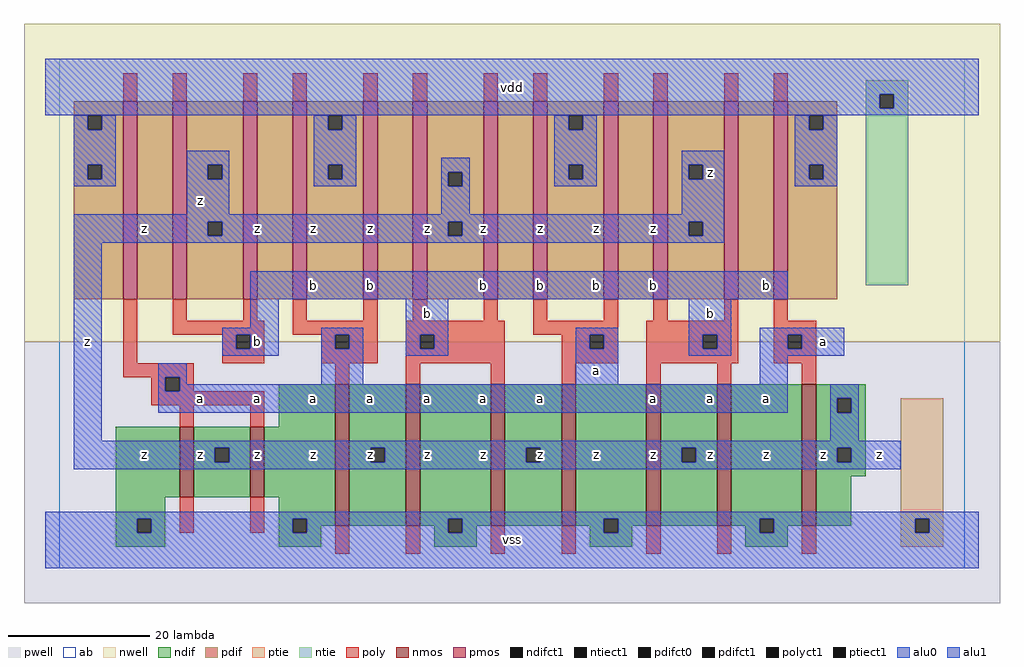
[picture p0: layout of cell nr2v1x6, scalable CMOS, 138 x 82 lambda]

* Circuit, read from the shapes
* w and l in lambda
.subckt nr2v1x6 a b vdd vss z
M1 z a vss vss nfet w=10 l=2 m=2
M2 z a vss vss nfet w=20 l=2 m=3
M3 vss b z vss nfet w=20 l=2 m=4
M4 n1 a vdd vdd pfet w=28 l=2
M5 z b n1 vdd pfet w=28 l=2
M6 n2 b z vdd pfet w=28 l=2
M7 vdd a n2 vdd pfet w=28 l=2
M8 n3 a vdd vdd pfet w=28 l=2
M9 z b n3 vdd pfet w=28 l=2
M10 n4 b z vdd pfet w=28 l=2
M11 vdd a n4 vdd pfet w=28 l=2
M12 n5 a vdd vdd pfet w=28 l=2
M13 z b n5 vdd pfet w=28 l=2
M14 n6 b z vdd pfet w=28 l=2
M15 vdd a n6 vdd pfet w=28 l=2
.ends

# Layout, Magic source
magic
tech scmos
<< ab >>
rect 0 0 128 72
<< nwell >>
rect -5 32 133 77
<< pwell >>
rect -5 -5 133 32
<< poly >>
rect 9 66 11 70
rect 16 66 18 70
rect 26 66 28 70
rect 33 66 35 70
rect 43 66 45 70
rect 50 66 52 70
rect 60 66 62 70
rect 67 66 69 70
rect 77 66 79 70
rect 84 66 86 70
rect 94 66 96 70
rect 101 66 103 70
rect 9 29 11 38
rect 16 35 18 38
rect 26 35 28 38
rect 33 35 35 38
rect 43 35 45 38
rect 50 35 52 38
rect 60 35 62 38
rect 67 35 69 38
rect 77 35 79 38
rect 84 35 86 38
rect 94 35 96 38
rect 16 33 29 35
rect 33 33 45 35
rect 23 31 25 33
rect 27 31 29 33
rect 23 29 29 31
rect 37 31 39 33
rect 41 31 45 33
rect 37 29 45 31
rect 49 33 63 35
rect 67 33 79 35
rect 49 31 51 33
rect 53 31 63 33
rect 49 29 63 31
rect 9 27 19 29
rect 13 25 15 27
rect 17 25 19 27
rect 39 26 41 29
rect 49 26 51 29
rect 61 26 63 29
rect 71 31 75 33
rect 77 31 79 33
rect 71 29 79 31
rect 83 33 96 35
rect 83 31 91 33
rect 93 31 96 33
rect 83 29 96 31
rect 101 35 103 38
rect 101 33 107 35
rect 101 31 103 33
rect 105 31 107 33
rect 101 29 107 31
rect 71 26 73 29
rect 83 26 85 29
rect 93 26 95 29
rect 105 26 107 29
rect 13 23 29 25
rect 17 20 19 23
rect 27 20 29 23
rect 17 5 19 10
rect 27 5 29 10
rect 39 2 41 6
rect 49 2 51 6
rect 61 2 63 6
rect 71 2 73 6
rect 83 2 85 6
rect 93 2 95 6
rect 105 2 107 6
<< ndif >>
rect 31 20 39 26
rect 8 10 17 20
rect 19 17 27 20
rect 19 15 22 17
rect 24 15 27 17
rect 19 10 27 15
rect 29 10 39 20
rect 8 7 15 10
rect 8 5 11 7
rect 13 5 15 7
rect 31 7 39 10
rect 31 5 33 7
rect 35 6 39 7
rect 41 17 49 26
rect 41 15 44 17
rect 46 15 49 17
rect 41 6 49 15
rect 51 7 61 26
rect 51 6 55 7
rect 35 5 37 6
rect 8 3 15 5
rect 31 3 37 5
rect 53 5 55 6
rect 57 6 61 7
rect 63 17 71 26
rect 63 15 66 17
rect 68 15 71 17
rect 63 6 71 15
rect 73 7 83 26
rect 73 6 77 7
rect 57 5 59 6
rect 53 3 59 5
rect 75 5 77 6
rect 79 6 83 7
rect 85 17 93 26
rect 85 15 88 17
rect 90 15 93 17
rect 85 6 93 15
rect 95 7 105 26
rect 95 6 99 7
rect 79 5 81 6
rect 75 3 81 5
rect 97 5 99 6
rect 101 6 105 7
rect 107 24 114 26
rect 107 22 110 24
rect 112 22 114 24
rect 107 17 114 22
rect 107 15 110 17
rect 112 15 114 17
rect 107 13 114 15
rect 107 6 112 13
rect 101 5 103 6
rect 97 3 103 5
<< pdif >>
rect 2 64 9 66
rect 2 62 4 64
rect 6 62 9 64
rect 2 57 9 62
rect 2 55 4 57
rect 6 55 9 57
rect 2 38 9 55
rect 11 38 16 66
rect 18 57 26 66
rect 18 55 21 57
rect 23 55 26 57
rect 18 49 26 55
rect 18 47 21 49
rect 23 47 26 49
rect 18 38 26 47
rect 28 38 33 66
rect 35 64 43 66
rect 35 62 38 64
rect 40 62 43 64
rect 35 57 43 62
rect 35 55 38 57
rect 40 55 43 57
rect 35 38 43 55
rect 45 38 50 66
rect 52 56 60 66
rect 52 54 55 56
rect 57 54 60 56
rect 52 49 60 54
rect 52 47 55 49
rect 57 47 60 49
rect 52 38 60 47
rect 62 38 67 66
rect 69 64 77 66
rect 69 62 72 64
rect 74 62 77 64
rect 69 57 77 62
rect 69 55 72 57
rect 74 55 77 57
rect 69 38 77 55
rect 79 38 84 66
rect 86 57 94 66
rect 86 55 89 57
rect 91 55 94 57
rect 86 49 94 55
rect 86 47 89 49
rect 91 47 94 49
rect 86 38 94 47
rect 96 38 101 66
rect 103 64 110 66
rect 103 62 106 64
rect 108 62 110 64
rect 103 57 110 62
rect 103 55 106 57
rect 108 55 110 57
rect 103 38 110 55
<< alu1 >>
rect -2 67 130 72
rect -2 65 116 67
rect 118 65 130 67
rect -2 64 130 65
rect 18 57 24 59
rect 18 55 21 57
rect 23 55 24 57
rect 18 50 24 55
rect 54 56 58 58
rect 54 54 55 56
rect 57 54 58 56
rect 88 57 94 59
rect 88 55 89 57
rect 91 55 94 57
rect 54 50 58 54
rect 88 50 94 55
rect 2 49 94 50
rect 2 47 21 49
rect 23 47 55 49
rect 57 47 89 49
rect 91 47 94 49
rect 2 46 94 47
rect 2 18 6 46
rect 27 38 103 42
rect 27 34 31 38
rect 23 33 31 34
rect 23 31 25 33
rect 27 31 31 33
rect 23 30 31 31
rect 37 33 43 34
rect 37 31 39 33
rect 41 31 43 33
rect 14 27 18 29
rect 14 25 15 27
rect 17 26 18 27
rect 37 26 43 31
rect 49 33 55 38
rect 49 31 51 33
rect 53 31 55 33
rect 49 30 55 31
rect 73 33 79 34
rect 73 31 75 33
rect 77 31 79 33
rect 73 26 79 31
rect 89 33 95 38
rect 89 31 91 33
rect 93 31 95 33
rect 89 30 95 31
rect 99 33 111 34
rect 99 31 103 33
rect 105 31 111 33
rect 99 30 111 31
rect 99 26 103 30
rect 17 25 103 26
rect 14 22 103 25
rect 109 24 113 26
rect 109 22 110 24
rect 112 22 113 24
rect 109 18 113 22
rect 2 17 119 18
rect 2 15 22 17
rect 24 15 44 17
rect 46 15 66 17
rect 68 15 88 17
rect 90 15 110 17
rect 112 15 119 17
rect 2 14 119 15
rect -2 7 130 8
rect -2 5 11 7
rect 13 5 33 7
rect 35 5 55 7
rect 57 5 77 7
rect 79 5 99 7
rect 101 5 121 7
rect 123 5 130 7
rect -2 0 130 5
<< ptie >>
rect 119 7 125 24
rect 119 5 121 7
rect 123 5 125 7
rect 119 3 125 5
<< ntie >>
rect 114 67 120 69
rect 114 65 116 67
rect 118 65 120 67
rect 114 40 120 65
<< nmos >>
rect 17 10 19 20
rect 27 10 29 20
rect 39 6 41 26
rect 49 6 51 26
rect 61 6 63 26
rect 71 6 73 26
rect 83 6 85 26
rect 93 6 95 26
rect 105 6 107 26
<< pmos >>
rect 9 38 11 66
rect 16 38 18 66
rect 26 38 28 66
rect 33 38 35 66
rect 43 38 45 66
rect 50 38 52 66
rect 60 38 62 66
rect 67 38 69 66
rect 77 38 79 66
rect 84 38 86 66
rect 94 38 96 66
rect 101 38 103 66
<< polyct1 >>
rect 25 31 27 33
rect 39 31 41 33
rect 51 31 53 33
rect 15 25 17 27
rect 75 31 77 33
rect 91 31 93 33
rect 103 31 105 33
<< ndifct1 >>
rect 22 15 24 17
rect 11 5 13 7
rect 33 5 35 7
rect 44 15 46 17
rect 55 5 57 7
rect 66 15 68 17
rect 77 5 79 7
rect 88 15 90 17
rect 99 5 101 7
rect 110 22 112 24
rect 110 15 112 17
<< ntiect1 >>
rect 116 65 118 67
<< ptiect1 >>
rect 121 5 123 7
<< pdifct0 >>
rect 4 62 6 64
rect 4 55 6 57
rect 38 62 40 64
rect 38 55 40 57
rect 72 62 74 64
rect 72 55 74 57
rect 106 62 108 64
rect 106 55 108 57
<< pdifct1 >>
rect 21 55 23 57
rect 21 47 23 49
rect 55 54 57 56
rect 55 47 57 49
rect 89 55 91 57
rect 89 47 91 49
<< alu0 >>
rect 2 62 4 64
rect 6 62 8 64
rect 2 57 8 62
rect 36 62 38 64
rect 40 62 42 64
rect 2 55 4 57
rect 6 55 8 57
rect 2 54 8 55
rect 36 57 42 62
rect 70 62 72 64
rect 74 62 76 64
rect 36 55 38 57
rect 40 55 42 57
rect 36 54 42 55
rect 70 57 76 62
rect 104 62 106 64
rect 108 62 110 64
rect 70 55 72 57
rect 74 55 76 57
rect 70 54 76 55
rect 104 57 110 62
rect 104 55 106 57
rect 108 55 110 57
rect 104 54 110 55
<< labels >>
rlabel alu1 20 16 20 16 6 z
rlabel alu1 12 16 12 16 6 z
rlabel alu1 20 24 20 24 6 a
rlabel alu1 4 32 4 32 6 z
rlabel alu1 20 52 20 52 6 z
rlabel alu1 12 48 12 48 6 z
rlabel alu1 44 16 44 16 6 z
rlabel alu1 36 16 36 16 6 z
rlabel alu1 28 16 28 16 6 z
rlabel alu1 44 24 44 24 6 a
rlabel alu1 36 24 36 24 6 a
rlabel alu1 28 24 28 24 6 a
rlabel alu1 28 32 28 32 6 b
rlabel alu1 44 40 44 40 6 b
rlabel alu1 36 40 36 40 6 b
rlabel alu1 44 48 44 48 6 z
rlabel alu1 36 48 36 48 6 z
rlabel alu1 28 48 28 48 6 z
rlabel alu1 64 4 64 4 6 vss
rlabel alu1 68 16 68 16 6 z
rlabel alu1 60 16 60 16 6 z
rlabel alu1 52 16 52 16 6 z
rlabel alu1 52 24 52 24 6 a
rlabel alu1 68 24 68 24 6 a
rlabel alu1 60 24 60 24 6 a
rlabel alu1 52 36 52 36 6 b
rlabel alu1 68 40 68 40 6 b
rlabel alu1 60 40 60 40 6 b
rlabel alu1 52 48 52 48 6 z
rlabel alu1 68 48 68 48 6 z
rlabel alu1 60 48 60 48 6 z
rlabel alu1 64 68 64 68 6 vdd
rlabel alu1 92 16 92 16 6 z
rlabel alu1 84 16 84 16 6 z
rlabel alu1 100 16 100 16 6 z
rlabel alu1 76 16 76 16 6 z
rlabel alu1 92 24 92 24 6 a
rlabel alu1 84 24 84 24 6 a
rlabel alu1 100 24 100 24 6 a
rlabel alu1 76 28 76 28 6 a
rlabel alu1 76 40 76 40 6 b
rlabel alu1 84 40 84 40 6 b
rlabel alu1 100 40 100 40 6 b
rlabel alu1 92 36 92 36 6 b
rlabel alu1 76 48 76 48 6 z
rlabel alu1 84 48 84 48 6 z
rlabel alu1 92 56 92 56 6 z
rlabel alu1 116 16 116 16 6 z
rlabel alu1 108 16 108 16 6 z
rlabel alu1 108 32 108 32 6 a
<< end >>
